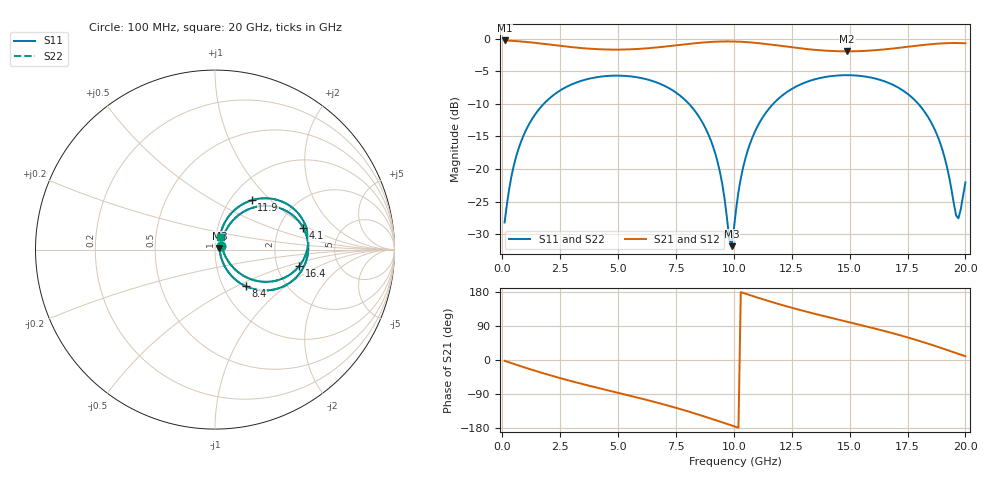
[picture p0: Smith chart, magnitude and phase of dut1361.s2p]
! Touchstone file exported from HFSS 2026.1.0
!  File:  C:/ffzhzh/LocalFiles/Ansys_Project_Files/temp_train_TSV_RDL_1361_1783344131_50076.aedt
!  Generated:  09:42:51 PM Jul  6, 2026
!  Design:  TSV_RDL
!  Project:  temp_train_TSV_RDL_1361_1783344131_50076
! Variables:
!  h_bsmrdl = 5.55um
!  h_ox = 20um
!  h_rdl = 5um
!  h_sub = 96.94um
!  h_tmrdl = 2.35um
!  h_tsv = 96.94um
!  h_via = 3um
!  l_bsmrdl = 535.33um
!  l_sub = 5659.54um
!  l_tmrdl = 880.74um
!  m_sub = 200um
!  pitch = 48.52um
!  r_tsv = 9.46um
!  s_tmrdl = 10um
!  w_bsmrdl = 24.58um
!  w_sub = 500um
!  w_tmrdl = 18.95um
!  x_tsv_center1 = 890.215um
!  x_tsv_center2 = 1450.125um
!  x_tsv_center3 = 2349.815um
!  x_tsv_center4 = 2909.725um
!  x_tsv_center5 = 3809.415um
!  x_tsv_center6 = 4369.325um
# GHz S MA R 50.000000
! Terminal data exported
! Port[1] = TM_RDL1_1_T1
! Port[2] = TM_RDL5_1_T1
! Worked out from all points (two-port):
!   200 points, 100 MHz to 20 GHz, reference 50 ohm
!   highest |S21| = -0.29 dB at 100 MHz (marker M1); lowest = -2.0 dB at 14.9 GHz (marker M2)
!   |S21| within 3 dB of the highest: start of sweep to end of sweep
!   lowest |S11| = -31.8 dB at 9.9 GHz (marker M3), VSWR 1.05, Z = 52.5 + j0.697 ohm
!   |S11| at or under -10 dB: start of sweep to 1.793 GHz; 8.058 GHz to 11.7 GHz (3.644 GHz wide, 36.9 % of centre); 17.96 GHz to end of sweep
!   |S22| runs from -31.9 to -5.6 dB; largest |S21 - S12| = 1.5e-14
!   S11 on the Smith chart (normalised r, x): 100 MHz: 1.07, +0.04; 4.1 GHz: 2.73, +0.88; 8.4 GHz: 1.28, -0.56; 11.9 GHz: 1.25, +0.78; 16.4 GHz: 2.65, -0.64; 20 GHz: 1.05, +0.15
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0.1  0.03896 30.9  0.9671 -2.2  0.9671 -2.2  0.03896 30.9
! Gamma 0 0 0 0
! Port Impedance 50 0 50 0
0.5  0.1069 59.8  0.9588 -10.4  0.9588 -10.4  0.1069 59.8
1.2  0.2278 56.0  0.9358 -24.3  0.9358 -24.3  0.2278 56.0
2.2  0.3676 41.6  0.8928 -42.7  0.8928 -42.7  0.3676 41.6
3.5  0.4795 22.3  0.8435 -64.0  0.8435 -64.0  0.4795 22.3
4.1  0.5063 13.8  0.8297 -73.2  0.8297 -73.2  0.5063 13.8
6.8  0.4512 -24.8  0.8594 -114.3  0.8594 -114.3  0.4512 -24.9
8.4  0.2664 -50.0  0.9234 -142.7  0.9234 -142.7  0.2663 -50.0
9.3  0.113 -59.8  0.9477 -160.5  0.9477 -160.5  0.1129 -59.9
9.9  0.02564 15.0  0.9504 -172.7  0.9504 -172.7  0.02544 15.1
10.1  0.04965 60.8  0.9485 -176.8  0.9485 -176.8  0.04957 61.0
10.7  0.1567 70.3  0.935 171.1  0.935 171.1  0.1567 70.4
11.9  0.3426 53.3  0.8848 148.3  0.8848 148.3  0.3426 53.4
13.4  0.4817 30.6  0.8224 123.4  0.8224 123.4  0.4817 30.6
14.9  0.5241 9.7  0.7982 100.9  0.7982 100.9  0.5241 9.7
16.4  0.4773 -11.2  0.8225 78.2  0.8225 78.2  0.4773 -11.2
16.7  0.4561 -15.6  0.8325 73.4  0.8325 73.4  0.4562 -15.6
18.6  0.2141 -42.6  0.9081 38.9  0.9081 38.9  0.2141 -42.8
19.1  0.1231 -43.9  0.9204 28.7  0.9204 28.7  0.1229 -44.2
19.6  0.04405 -3.2  0.9243 18.3  0.9243 18.3  0.0433 -3.7
19.7  0.0419 22.3  0.9239 16.2  0.9239 16.2  0.04105 22.4
20  0.07903 66.7  0.9204 9.9  0.9204 9.9  0.07849 67.2
